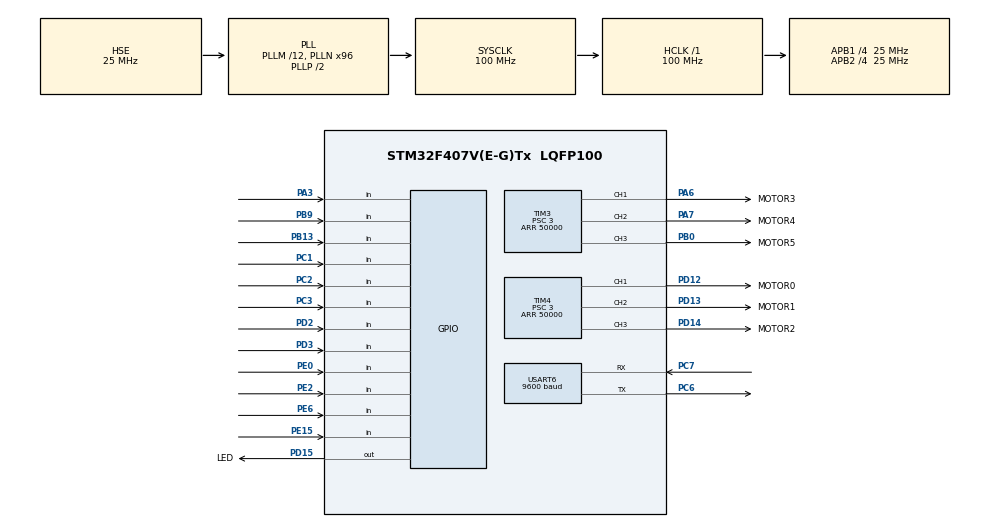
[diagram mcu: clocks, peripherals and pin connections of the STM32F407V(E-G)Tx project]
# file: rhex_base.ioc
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FREERTOS.Mutexes01=uartMutex,Dynamic,NULL
FREERTOS.Tasks01=defaultTask,0,128,StartDefaultTask,Default,NULL,Dynamic,NULL,NULL
Mcu.Family=STM32F4
Mcu.Name=STM32F407V(E-G)Tx
Mcu.Package=LQFP100
NVIC.PriorityGroup=NVIC_PRIORITYGROUP_4
NVIC.TIM1_UP_TIM10_IRQn=true\:0\:0\:false\:false\:true\:false\:false
NVIC.TimeBase=TIM1_UP_TIM10_IRQn
NVIC.TimeBaseIP=TIM1
NVIC.USART6_IRQn=true\:5\:0\:false\:false\:true\:true\:true
PA13.Mode=Serial_Wire
PA13.Signal=SYS_JTMS-SWDIO
PA14.Mode=Serial_Wire
PA14.Signal=SYS_JTCK-SWCLK
PA3.GPIO_PuPd=GPIO_PULLUP
PA3.Signal=GPIO_Input
PA6.GPIO_Label=MOTOR3
PA6.GPIO_PuPd=GPIO_PULLDOWN
PA6.Signal=S_TIM3_CH1
PA7.GPIO_Label=MOTOR4
PA7.GPIO_PuPd=GPIO_PULLDOWN
PA7.Signal=S_TIM3_CH2
PB0.GPIO_Label=MOTOR5
PB0.GPIO_PuPd=GPIO_PULLDOWN
PB0.Signal=S_TIM3_CH3
PB13.GPIO_PuPd=GPIO_PULLUP
PB13.Signal=GPIO_Input
PB9.GPIO_PuPd=GPIO_PULLUP
PB9.Signal=GPIO_Input
PC1.GPIO_PuPd=GPIO_PULLUP
PC1.Signal=GPIO_Input
PC2.GPIO_PuPd=GPIO_PULLUP
PC2.Signal=GPIO_Input
PC3.GPIO_PuPd=GPIO_PULLUP
PC3.Signal=GPIO_Input
PC6.Mode=Asynchronous
PC6.Signal=USART6_TX
PC7.Mode=Asynchronous
PC7.Signal=USART6_RX
PD12.GPIO_Label=MOTOR0
PD12.GPIO_PuPd=GPIO_PULLDOWN
PD12.Signal=S_TIM4_CH1
PD13.GPIO_Label=MOTOR1
PD13.GPIO_PuPd=GPIO_PULLDOWN
PD13.Signal=S_TIM4_CH2
PD14.GPIO_Label=MOTOR2
PD14.GPIO_PuPd=GPIO_PULLDOWN
PD14.Signal=S_TIM4_CH3
PD15.GPIO_Label=LED
PD15.Signal=GPIO_Output
PD2.GPIO_PuPd=GPIO_PULLUP
PD2.Signal=GPIO_Input
PD3.GPIO_PuPd=GPIO_PULLUP
PD3.Signal=GPIO_Input
PE0.GPIO_PuPd=GPIO_PULLUP
PE0.Signal=GPIO_Input
PE15.GPIO_PuPd=GPIO_PULLUP
PE15.Signal=GPIO_Input
PE2.GPIO_PuPd=GPIO_PULLUP
PE2.Signal=GPIO_Input
PE6.GPIO_PuPd=GPIO_PULLUP
PE6.Signal=GPIO_Input
PH0-OSC_IN.Mode=HSE-External-Oscillator
PH0-OSC_IN.Signal=RCC_OSC_IN
PH1-OSC_OUT.Mode=HSE-External-Oscillator
PH1-OSC_OUT.Signal=RCC_OSC_OUT
ProjectManager.HeapSize=0x200
ProjectManager.StackSize=0x400
ProjectManager.TargetToolchain=SW4STM32
RCC.48MHZClocksFreq_Value=50000000
RCC.AHBFreq_Value=100000000
RCC.APB1CLKDivider=RCC_HCLK_DIV4
RCC.APB1Freq_Value=25000000
RCC.APB1TimFreq_Value=50000000
RCC.APB2CLKDivider=RCC_HCLK_DIV4
RCC.APB2Freq_Value=25000000
RCC.APB2TimFreq_Value=50000000
RCC.CortexFreq_Value=100000000
RCC.HCLKFreq_Value=100000000
RCC.HSE_VALUE=25000000
RCC.HSI_VALUE=16000000
RCC.LSE_VALUE=32768
RCC.PLLM=12
RCC.PLLN=96
RCC.PLLSourceVirtual=RCC_PLLSOURCE_HSE
RCC.SYSCLKFreq_VALUE=100000000
RCC.SYSCLKSource=RCC_SYSCLKSOURCE_PLLCLK
RCC.VCOOutputFreq_Value=200000000
SH.S_TIM3_CH1.0=TIM3_CH1,PWM Generation1 CH1
SH.S_TIM3_CH2.0=TIM3_CH2,PWM Generation2 CH2
SH.S_TIM3_CH3.0=TIM3_CH3,PWM Generation3 CH3
SH.S_TIM4_CH1.0=TIM4_CH1,PWM Generation1 CH1
SH.S_TIM4_CH2.0=TIM4_CH2,PWM Generation2 CH2
SH.S_TIM4_CH3.0=TIM4_CH3,PWM Generation3 CH3
TIM3.Channel-PWM\ Generation1\ CH1=TIM_CHANNEL_1
TIM3.Channel-PWM\ Generation2\ CH2=TIM_CHANNEL_2
TIM3.Channel-PWM\ Generation3\ CH3=TIM_CHANNEL_3
TIM3.Period=50000
TIM3.Prescaler=3
TIM4.Channel-PWM\ Generation1\ CH1=TIM_CHANNEL_1
TIM4.Channel-PWM\ Generation2\ CH2=TIM_CHANNEL_2
TIM4.Channel-PWM\ Generation3\ CH3=TIM_CHANNEL_3
TIM4.Period=50000
TIM4.Prescaler=3
USART6.BaudRate=9600
USART6.VirtualMode=VM_ASYNC
VP_FREERTOS_VS_ENABLE.Mode=Enabled
VP_SYS_VS_tim1.Mode=TIM1
board=custom

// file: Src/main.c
/* USER CODE BEGIN Header */
/**
  ******************************************************************************
  * @file           : main.c
  * @brief          : Main program body
  ******************************************************************************
  * This notice applies to any and all portions of this file
  * that are not between comment pairs USER CODE BEGIN and
  * USER CODE END. Other portions of this file, whether
  * inserted by the user or by software development tools
  * are owned by their respective copyright owners.
  *
  * Copyright (c) 2018 STMicroelectronics International N.V.
  * All rights reserved.
  *
  * Redistribution and use in source and binary forms, with or without
  * modification, are permitted, provided that the following conditions are met:
  *
  * 1. Redistribution of source code must retain the above copyright notice,
  *    this list of conditions and the following disclaimer.
  * 2. Redistributions in binary form must reproduce the above copyright notice,
  *    this list of conditions and the following disclaimer in the documentation
  *    and/or other materials provided with the distribution.
  * 3. Neither the name of STMicroelectronics nor the names of other
  *    contributors to this software may be used to endorse or promote products
  *    derived from this software without specific written permission.
  * 4. This software, including modifications and/or derivative works of this
  *    software, must execute solely and exclusively on microcontroller or
  *    microprocessor devices manufactured by or for STMicroelectronics.
  * 5. Redistribution and use of this software other than as permitted under
  *    this license is void and will automatically terminate your rights under
  *    this license.
  *
  * THIS SOFTWARE IS PROVIDED BY STMICROELECTRONICS AND CONTRIBUTORS "AS IS"
  * AND ANY EXPRESS, IMPLIED OR STATUTORY WARRANTIES, INCLUDING, BUT NOT
  * LIMITED TO, THE IMPLIED WARRANTIES OF MERCHANTABILITY, FITNESS FOR A
  * PARTICULAR PURPOSE AND NON-INFRINGEMENT OF THIRD PARTY INTELLECTUAL PROPERTY
  * RIGHTS ARE DISCLAIMED TO THE FULLEST EXTENT PERMITTED BY LAW. IN NO EVENT
  * SHALL STMICROELECTRONICS OR CONTRIBUTORS BE LIABLE FOR ANY DIRECT, INDIRECT,
  * INCIDENTAL, SPECIAL, EXEMPLARY, OR CONSEQUENTIAL DAMAGES (INCLUDING, BUT NOT
  * LIMITED TO, PROCUREMENT OF SUBSTITUTE GOODS OR SERVICES; LOSS OF USE, DATA,
  * OR PROFITS; OR BUSINESS INTERRUPTION) HOWEVER CAUSED AND ON ANY THEORY OF
  * LIABILITY, WHETHER IN CONTRACT, STRICT LIABILITY, OR TORT (INCLUDING
  * NEGLIGENCE OR OTHERWISE) ARISING IN ANY WAY OUT OF THE USE OF THIS SOFTWARE,
  * EVEN IF ADVISED OF THE POSSIBILITY OF SUCH DAMAGE.
  *
  ******************************************************************************
  */
/* USER CODE END Header */

#include "main.h"
#include "cmsis_os.h"

/* USER CODE BEGIN Includes */
#include "rhex_motor_control.h"
/* USER CODE END Includes */

TIM_HandleTypeDef htim3;
TIM_HandleTypeDef htim4;

UART_HandleTypeDef huart6;

osThreadId defaultTaskHandle;
osMutexId uartMutexHandle;
/* USER CODE BEGIN PV */
/* Private variables ---------------------------------------------------------*/

/* USER CODE END PV */

void SystemClock_Config(void);
static void MX_GPIO_Init(void);
static void MX_TIM3_Init(void);
static void MX_TIM4_Init(void);
static void MX_USART6_UART_Init(void);
void StartDefaultTask(void const * argument);

/* USER CODE BEGIN PFP */
/* Private function prototypes -----------------------------------------------*/

/* USER CODE END PFP */

/* USER CODE BEGIN 0 */
void Main_Thread(void *pvParameters) {
	uint8_t command_byte = 0;
    LEG_STATE motor_states[6] = {
    UNKNOWN,
    UNKNOWN,
    UNKNOWN,
    UNKNOWN,
    UNKNOWN,
    UNKNOWN
    };
    LEG_STATE desired_states[6] = {
    UNKNOWN,
    UNKNOWN,
    UNKNOWN,
    UNKNOWN,
    UNKNOWN,
    UNKNOWN
    };
    LEG_STATE leg_states_walk_1[6] = {
    UP,
    DOWN,
    UP,
    DOWN,
    UP,
    DOWN
    };
    LEG_STATE leg_states_walk_2[6] = {
    DOWN,
    UP,
    DOWN,
    UP,
    DOWN,
    UP
    };
    LEG_STATE leg_states_stop[6] = {
    DOWN,
    DOWN,
    DOWN,
    DOWN,
    DOWN,
    DOWN
    };

	HAL_UART_Receive_IT(&huart6, &command_byte, 1);
	PWM_start_all();
	//stop_all_motors();

	HAL_GPIO_TogglePin(GPIOD, GPIO_PIN_15);
	osDelay(500);
	HAL_GPIO_TogglePin(GPIOD, GPIO_PIN_15);
	osDelay(500);
    HAL_GPIO_TogglePin(GPIOD, GPIO_PIN_15);
    osDelay(500);

    all_fwd();

	while (1) {
		if (command_byte != 0) {
			HAL_GPIO_TogglePin(GPIOD, GPIO_PIN_15);
			osDelay(500);
			HAL_GPIO_TogglePin(GPIOD, GPIO_PIN_15);
			osDelay(500);

			switch (command_byte) {
				case 1: 						// forward
					PWM_set_pulse(0, MOTOR_SPEED_FWD_MAX);
					PWM_set_pulse(1, MOTOR_SPEED_FWD_MAX);
					PWM_set_pulse(2, MOTOR_SPEED_FWD_MAX);
					PWM_set_pulse(3, MOTOR_SPEED_BCK_MAX);
					PWM_set_pulse(4, MOTOR_SPEED_BCK_MAX);
					PWM_set_pulse(5, MOTOR_SPEED_BCK_MAX);

                    set_states(leg_states_walk_1, desired_states);
                    wait_for_state(motor_states, desired_states);

					PWM_set_pulse(0, MOTOR_SPEED_FWD_MAX);
					PWM_set_pulse(1, MOTOR_SPEED_FWD_MAX);
					PWM_set_pulse(2, MOTOR_SPEED_FWD_MAX);
					PWM_set_pulse(3, MOTOR_SPEED_BCK_MAX);
					PWM_set_pulse(4, MOTOR_SPEED_BCK_MAX);
					PWM_set_pulse(5, MOTOR_SPEED_BCK_MAX);

                    set_states(leg_states_walk_2, desired_states);
                    wait_for_state(motor_states, desired_states);

					break;

				case 2: 						// backward
					PWM_set_pulse(0, MOTOR_SPEED_BCK_MAX);
					PWM_set_pulse(1, MOTOR_SPEED_BCK_MAX);
					PWM_set_pulse(2, MOTOR_SPEED_BCK_MAX);
					PWM_set_pulse(3, MOTOR_SPEED_FWD_MAX);
					PWM_set_pulse(4, MOTOR_SPEED_FWD_MAX);
					PWM_set_pulse(5, MOTOR_SPEED_FWD_MAX);
					break;

				case 3: 						// left
					PWM_set_pulse(0, MOTOR_SPEED_FWD_MAX);
					PWM_set_pulse(1, MOTOR_SPEED_FWD_MAX);
					PWM_set_pulse(2, MOTOR_SPEED_FWD_MAX);
					PWM_set_pulse(3, MOTOR_SPEED_FWD_MAX);
					PWM_set_pulse(4, MOTOR_SPEED_FWD_MAX);
					PWM_set_pulse(5, MOTOR_SPEED_FWD_MAX);
					break;

				case 4: 						// right
					PWM_set_pulse(0, MOTOR_SPEED_BCK_MAX);
					PWM_set_pulse(1, MOTOR_SPEED_BCK_MAX);
					PWM_set_pulse(2, MOTOR_SPEED_BCK_MAX);
					PWM_set_pulse(3, MOTOR_SPEED_BCK_MAX);
					PWM_set_pulse(4, MOTOR_SPEED_BCK_MAX);
					PWM_set_pulse(5, MOTOR_SPEED_BCK_MAX);
					break;

				case 5: 						// stop
					all_fwd();
					set_states(leg_states_stop, desired_states);
                    wait_for_state(motor_states, desired_states);
					break;
			}

			command_byte = 0;
			HAL_UART_Receive_IT(&huart6, &command_byte, 1);
		}

	}
}

void Uart_Thread(void *pvParameters) {
	xSemaphoreTake(uartMutexHandle, portMAX_DELAY);

	xSemaphoreGive(uartMutexHandle);
}
/* USER CODE END 0 */

int main(void)
{

  /* MCU Configuration--------------------------------------------------------*/

  /* Reset of all peripherals, Initializes the Flash interface and the Systick. */
  HAL_Init();

  /* Configure the system clock */
  SystemClock_Config();

  /* Initialize all configured peripherals */
  MX_GPIO_Init();
  MX_TIM3_Init();
  MX_TIM4_Init();
  MX_USART6_UART_Init();
  /* USER CODE BEGIN 2 */

  xTaskCreate(Main_Thread, (const char* const)"main_thread", configMINIMAL_STACK_SIZE, 0, 2, 0);
  xTaskCreate(Uart_Thread, (const char* const)"uart_thread", configMINIMAL_STACK_SIZE, 0, 2, 0);

  /* USER CODE END 2 */

  /* Create the mutex(es) */
  /* definition and creation of uartMutex */
  osMutexDef(uartMutex);
  uartMutexHandle = osMutexCreate(osMutex(uartMutex));

  /* Create the thread(s) */
  /* definition and creation of defaultTask */
  osThreadDef(defaultTask, StartDefaultTask, osPriorityNormal, 0, 128);
  defaultTaskHandle = osThreadCreate(osThread(defaultTask), NULL);

  /* Start scheduler */
  osKernelStart();

  /* We should never get here as control is now taken by the scheduler */

  /* Infinite loop */
  while (1)
  {

  }
}

void SystemClock_Config(void)
{
  RCC_OscInitTypeDef RCC_OscInitStruct = {0};
  RCC_ClkInitTypeDef RCC_ClkInitStruct = {0};

  /**Configure the main internal regulator output voltage
  */
  __HAL_RCC_PWR_CLK_ENABLE();
  __HAL_PWR_VOLTAGESCALING_CONFIG(PWR_REGULATOR_VOLTAGE_SCALE1);
  /**Initializes the CPU, AHB and APB busses clocks
  */
  RCC_OscInitStruct.OscillatorType = RCC_OSCILLATORTYPE_HSE;
  RCC_OscInitStruct.HSEState = RCC_HSE_ON;
  RCC_OscInitStruct.PLL.PLLState = RCC_PLL_ON;
  RCC_OscInitStruct.PLL.PLLSource = RCC_PLLSOURCE_HSE;
  RCC_OscInitStruct.PLL.PLLM = 12;
  RCC_OscInitStruct.PLL.PLLN = 96;
  RCC_OscInitStruct.PLL.PLLP = RCC_PLLP_DIV2;
  RCC_OscInitStruct.PLL.PLLQ = 4;
  if (HAL_RCC_OscConfig(&RCC_OscInitStruct) != HAL_OK)
  {
    Error_Handler();
  }
  /**Initializes the CPU, AHB and APB busses clocks
  */
  RCC_ClkInitStruct.ClockType = RCC_CLOCKTYPE_HCLK|RCC_CLOCKTYPE_SYSCLK
                              |RCC_CLOCKTYPE_PCLK1|RCC_CLOCKTYPE_PCLK2;
  RCC_ClkInitStruct.SYSCLKSource = RCC_SYSCLKSOURCE_PLLCLK;
  RCC_ClkInitStruct.AHBCLKDivider = RCC_SYSCLK_DIV1;
  RCC_ClkInitStruct.APB1CLKDivider = RCC_HCLK_DIV4;
  RCC_ClkInitStruct.APB2CLKDivider = RCC_HCLK_DIV4;

  if (HAL_RCC_ClockConfig(&RCC_ClkInitStruct, FLASH_LATENCY_3) != HAL_OK)
  {
    Error_Handler();
  }
}

static void MX_TIM3_Init(void)
{

  TIM_MasterConfigTypeDef sMasterConfig = {0};
  TIM_OC_InitTypeDef sConfigOC = {0};

  htim3.Instance = TIM3;
  htim3.Init.Prescaler = 3;
  htim3.Init.CounterMode = TIM_COUNTERMODE_UP;
  htim3.Init.Period = 50000;
  htim3.Init.ClockDivision = TIM_CLOCKDIVISION_DIV1;
  if (HAL_TIM_PWM_Init(&htim3) != HAL_OK)
  {
    Error_Handler();
  }
  sMasterConfig.MasterOutputTrigger = TIM_TRGO_RESET;
  sMasterConfig.MasterSlaveMode = TIM_MASTERSLAVEMODE_DISABLE;
  if (HAL_TIMEx_MasterConfigSynchronization(&htim3, &sMasterConfig) != HAL_OK)
  {
    Error_Handler();
  }
  sConfigOC.OCMode = TIM_OCMODE_PWM1;
  sConfigOC.Pulse = 0;
  sConfigOC.OCPolarity = TIM_OCPOLARITY_HIGH;
  sConfigOC.OCFastMode = TIM_OCFAST_DISABLE;
  if (HAL_TIM_PWM_ConfigChannel(&htim3, &sConfigOC, TIM_CHANNEL_1) != HAL_OK)
  {
    Error_Handler();
  }
  if (HAL_TIM_PWM_ConfigChannel(&htim3, &sConfigOC, TIM_CHANNEL_2) != HAL_OK)
  {
    Error_Handler();
  }
  if (HAL_TIM_PWM_ConfigChannel(&htim3, &sConfigOC, TIM_CHANNEL_3) != HAL_OK)
  {
    Error_Handler();
  }
  HAL_TIM_MspPostInit(&htim3);

}

static void MX_TIM4_Init(void)
{

  TIM_MasterConfigTypeDef sMasterConfig = {0};
  TIM_OC_InitTypeDef sConfigOC = {0};

  htim4.Instance = TIM4;
  htim4.Init.Prescaler = 3;
  htim4.Init.CounterMode = TIM_COUNTERMODE_UP;
  htim4.Init.Period = 50000;
  htim4.Init.ClockDivision = TIM_CLOCKDIVISION_DIV1;
  if (HAL_TIM_PWM_Init(&htim4) != HAL_OK)
  {
    Error_Handler();
  }
  sMasterConfig.MasterOutputTrigger = TIM_TRGO_RESET;
  sMasterConfig.MasterSlaveMode = TIM_MASTERSLAVEMODE_DISABLE;
  if (HAL_TIMEx_MasterConfigSynchronization(&htim4, &sMasterConfig) != HAL_OK)
  {
    Error_Handler();
  }
  sConfigOC.OCMode = TIM_OCMODE_PWM1;
  sConfigOC.Pulse = 0;
  sConfigOC.OCPolarity = TIM_OCPOLARITY_HIGH;
  sConfigOC.OCFastMode = TIM_OCFAST_DISABLE;
  if (HAL_TIM_PWM_ConfigChannel(&htim4, &sConfigOC, TIM_CHANNEL_1) != HAL_OK)
  {
    Error_Handler();
  }
  if (HAL_TIM_PWM_ConfigChannel(&htim4, &sConfigOC, TIM_CHANNEL_2) != HAL_OK)
  {
    Error_Handler();
  }
  if (HAL_TIM_PWM_ConfigChannel(&htim4, &sConfigOC, TIM_CHANNEL_3) != HAL_OK)
  {
    Error_Handler();
  }
  HAL_TIM_MspPostInit(&htim4);

}

static void MX_USART6_UART_Init(void)
{

  huart6.Instance = USART6;
  huart6.Init.BaudRate = 9600;
  huart6.Init.WordLength = UART_WORDLENGTH_8B;
  huart6.Init.StopBits = UART_STOPBITS_1;
  huart6.Init.Parity = UART_PARITY_NONE;
  huart6.Init.Mode = UART_MODE_TX_RX;
  huart6.Init.HwFlowCtl = UART_HWCONTROL_NONE;
  huart6.Init.OverSampling = UART_OVERSAMPLING_16;
  if (HAL_UART_Init(&huart6) != HAL_OK)
  {
    Error_Handler();
  }

}

static void MX_GPIO_Init(void)
{
  GPIO_InitTypeDef GPIO_InitStruct = {0};

  /* GPIO Ports Clock Enable */
  __HAL_RCC_GPIOE_CLK_ENABLE();
  __HAL_RCC_GPIOH_CLK_ENABLE();
  __HAL_RCC_GPIOC_CLK_ENABLE();
  __HAL_RCC_GPIOA_CLK_ENABLE();
  __HAL_RCC_GPIOB_CLK_ENABLE();
  __HAL_RCC_GPIOD_CLK_ENABLE();

  /*Configure GPIO pin Output Level */
  HAL_GPIO_WritePin(LED_GPIO_Port, LED_Pin, GPIO_PIN_RESET);

  /*Configure GPIO pins : PE2 PE6 PE15 PE0 */
  GPIO_InitStruct.Pin = GPIO_PIN_2|GPIO_PIN_6|GPIO_PIN_15|GPIO_PIN_0;
  GPIO_InitStruct.Mode = GPIO_MODE_INPUT;
  GPIO_InitStruct.Pull = GPIO_PULLUP;
  HAL_GPIO_Init(GPIOE, &GPIO_InitStruct);

  /*Configure GPIO pins : PC1 PC2 PC3 */
  GPIO_InitStruct.Pin = GPIO_PIN_1|GPIO_PIN_2|GPIO_PIN_3;
  GPIO_InitStruct.Mode = GPIO_MODE_INPUT;
  GPIO_InitStruct.Pull = GPIO_PULLUP;
  HAL_GPIO_Init(GPIOC, &GPIO_InitStruct);

  /*Configure GPIO pin : PA3 */
  GPIO_InitStruct.Pin = GPIO_PIN_3;
  GPIO_InitStruct.Mode = GPIO_MODE_INPUT;
  GPIO_InitStruct.Pull = GPIO_PULLUP;
  HAL_GPIO_Init(GPIOA, &GPIO_InitStruct);

  /*Configure GPIO pins : PB13 PB9 */
  GPIO_InitStruct.Pin = GPIO_PIN_13|GPIO_PIN_9;
  GPIO_InitStruct.Mode = GPIO_MODE_INPUT;
  GPIO_InitStruct.Pull = GPIO_PULLUP;
  HAL_GPIO_Init(GPIOB, &GPIO_InitStruct);

  /*Configure GPIO pin : LED_Pin */
  GPIO_InitStruct.Pin = LED_Pin;
  GPIO_InitStruct.Mode = GPIO_MODE_OUTPUT_PP;
  GPIO_InitStruct.Pull = GPIO_NOPULL;
  GPIO_InitStruct.Speed = GPIO_SPEED_FREQ_LOW;
  HAL_GPIO_Init(LED_GPIO_Port, &GPIO_InitStruct);

  /*Configure GPIO pins : PD2 PD3 */
  GPIO_InitStruct.Pin = GPIO_PIN_2|GPIO_PIN_3;
  GPIO_InitStruct.Mode = GPIO_MODE_INPUT;
  GPIO_InitStruct.Pull = GPIO_PULLUP;
  HAL_GPIO_Init(GPIOD, &GPIO_InitStruct);

}

void StartDefaultTask(void const * argument)
{

  for(;;)
  {
    osDelay(1);
  }
}

void HAL_TIM_PeriodElapsedCallback(TIM_HandleTypeDef *htim)
{
  if (htim->Instance == TIM1) {
    HAL_IncTick();
  }
}

void Error_Handler(void)
{
  while(1)
  {
  }
}

/************************ (C) COPYRIGHT STMicroelectronics *****END OF FILE****/
